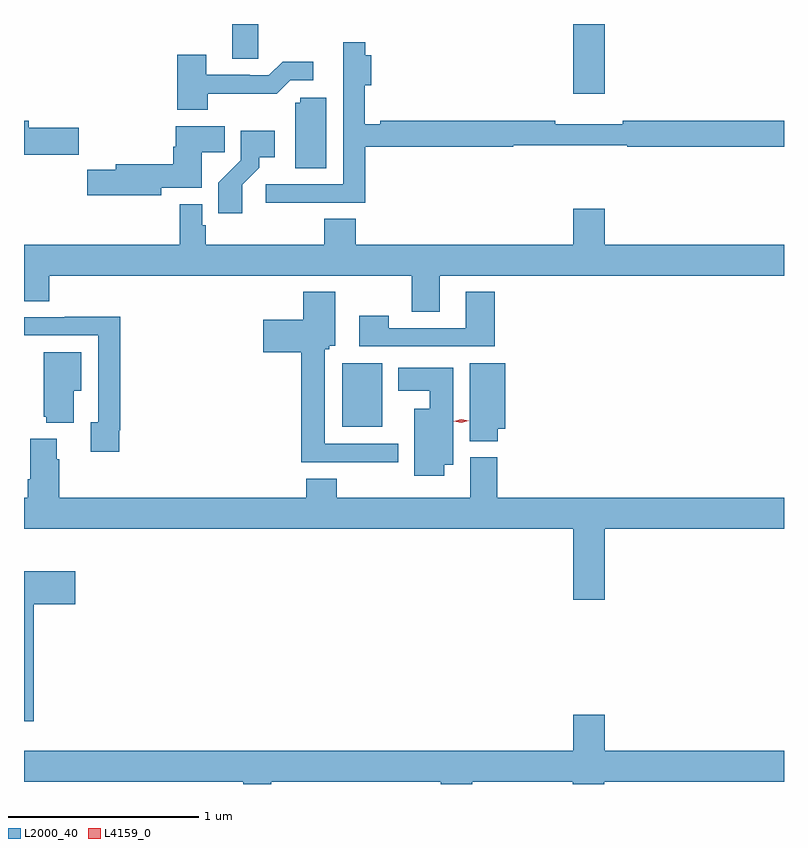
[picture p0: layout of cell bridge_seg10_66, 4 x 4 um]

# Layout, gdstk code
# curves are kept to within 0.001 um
import gdstk
lib = gdstk.Library(unit=1e-6, precision=1e-09)
def R(c, l, rs):  # rectangles x0, y0, x1, y1
    for r in rs: c.add(gdstk.rectangle(r[:2], r[2:], *l))
def P(c, l, *ps):  # polygons
    for p in ps: c.add(gdstk.Polygon(p, *l))
L2000_40 = (2000, 40)
L4159_0 = (4159, 0)

bridge_seg10_66 = lib.new_cell('bridge_seg10_66')
R(bridge_seg10_66, L2000_40, [(799.154,1268.885,799.366,1269.22), (800.372,1270.638,800.536,1271.005), (798.575,1270.822,798.714,1271.005)])
P(bridge_seg10_66, L2000_40, [(798.977,1270.065),(799.277,1270.065),(799.277,1270.36),(800.054,1270.36),(800.054,1270.368),(800.654,1270.368),(800.654,1270.36),(801.48,1270.36),(801.48,1270.496),(800.632,1270.496),(800.632,1270.477),(800.276,1270.477),(800.276,1270.496),(799.354,1270.496),(799.354,1270.478),(799.273,1270.478),(799.273,1270.682),(799.307,1270.682),(799.307,1270.84),(799.277,1270.84),(799.277,1270.909),(799.16,1270.909),(799.16,1270.686),(799.161,1270.686),(799.161,1270.161),(798.753,1270.161),(798.753,1270.063),(798.977,1270.063)],
  [(798.447,1270.638),(798.809,1270.637),(798.882,1270.71),(799.003,1270.71),(799.003,1270.807),(798.841,1270.807),(798.768,1270.734),(798.668,1270.734),(798.668,1270.737),(798.439,1270.737),(798.439,1270.843),(798.287,1270.843),(798.287,1270.553),(798.447,1270.553)],
  [(799.072,1270.617),(798.933,1270.617),(798.933,1270.59),(798.908,1270.59),(798.908,1270.246),(799.072,1270.246)],
  [(797.767,1270.46),(797.506,1270.46),(797.506,1270.496),(797.48,1270.496),(797.48,1270.318),(797.767,1270.318)],
  [(798.202,1270.142),(798.415,1270.142),(798.415,1270.33),(798.536,1270.33),(798.536,1270.468),(798.278,1270.468),(798.278,1270.358),(798.266,1270.358),(798.266,1270.268),(797.963,1270.268),(797.963,1270.238),(797.814,1270.238),(797.814,1270.103),(798.202,1270.103)],
  [(798.628,1270.159),(798.718,1270.249),(798.718,1270.304),(798.799,1270.304),(798.799,1270.444),(798.621,1270.444),(798.621,1270.289),(798.502,1270.17),(798.502,1270.008),(798.628,1270.008)],
  [(799.669,1269.68),(801.48,1269.68),(801.48,1269.844),(800.536,1269.844),(800.536,1270.033),(800.372,1270.033),(800.372,1269.844),(799.226,1269.844),(799.226,1269.98),(799.061,1269.98),(799.061,1269.844),(798.437,1269.844),(798.437,1269.945),(798.417,1269.945),(798.417,1270.057),(798.301,1270.057),(798.301,1269.844),(797.48,1269.844),(797.48,1269.547),(797.612,1269.547),(797.612,1269.68),(799.522,1269.68),(799.522,1269.49),(799.669,1269.49)],
  [(799.45,1268.796),(799.063,1268.796),(799.063,1269.294),(799.086,1269.294),(799.086,1269.312),(799.117,1269.312),(799.117,1269.595),(798.95,1269.595),(798.95,1269.448),(798.738,1269.448),(798.738,1269.278),(798.938,1269.278),(798.938,1268.699),(799.45,1268.699)],
  [(799.958,1269.595),(799.805,1269.595),(799.805,1269.405),(799.401,1269.405),(799.401,1269.469),(799.245,1269.469),(799.245,1269.309),(799.958,1269.309)],
  [(797.98,1268.866),(797.987,1268.866),(797.987,1269.464),(797.695,1269.464),(797.695,1269.462),(797.48,1269.462),(797.48,1269.366),(797.871,1269.366),(797.871,1268.91),(797.831,1268.91),(797.831,1268.754),(797.98,1268.754)],
  [(797.743,1269.074),(797.782,1269.074),(797.782,1269.277),(797.585,1269.277),(797.585,1268.937),(797.597,1268.937),(797.597,1268.906),(797.743,1268.906)],
  [(799.973,1268.876),(800.014,1268.876),(800.014,1269.22),(799.826,1269.22),(799.826,1268.809),(799.973,1268.809)],
  [(799.693,1268.684),(799.738,1268.684),(799.738,1269.196),(799.451,1269.196),(799.451,1269.074),(799.616,1269.074),(799.616,1268.98),(799.535,1268.98),(799.535,1268.628),(799.693,1268.628)],
  [(800.536,1268.348),(801.48,1268.348),(801.48,1268.512),(799.97,1268.512),(799.97,1268.724),(799.829,1268.724),(799.829,1268.512),(799.125,1268.512),(799.125,1268.611),(798.965,1268.611),(798.965,1268.512),(797.666,1268.512),(797.666,1268.714),(797.653,1268.714),(797.653,1268.821),(797.513,1268.821),(797.513,1268.608),(797.501,1268.608),(797.501,1268.512),(797.48,1268.512),(797.48,1268.348),(800.372,1268.348),(800.372,1267.974),(800.536,1267.974)],
  [(797.531,1267.952),(797.749,1267.952),(797.749,1268.124),(797.48,1268.124),(797.48,1267.334),(797.531,1267.334)],
  [(800.372,1267.18),(797.48,1267.18),(797.48,1267.016),(798.634,1267.016),(798.634,1267.005),(798.781,1267.005),(798.781,1267.016),(799.673,1267.016),(799.673,1267.005),(799.838,1267.005),(799.838,1267.016),(800.369,1267.016),(800.369,1267.005),(800.534,1267.005),(800.534,1267.016),(801.48,1267.016),(801.48,1267.18),(800.536,1267.18),(800.536,1267.369),(800.372,1267.369)])
P(bridge_seg10_66, L4159_0, [(799.782,1268.906),(799.742,1268.915),(799.742,1268.915),(799.742,1268.915),(799.782,1268.926),(799.821,1268.917),(799.822,1268.916),(799.821,1268.916)])

lib.write_gds('bridge_seg10_66.gds')
